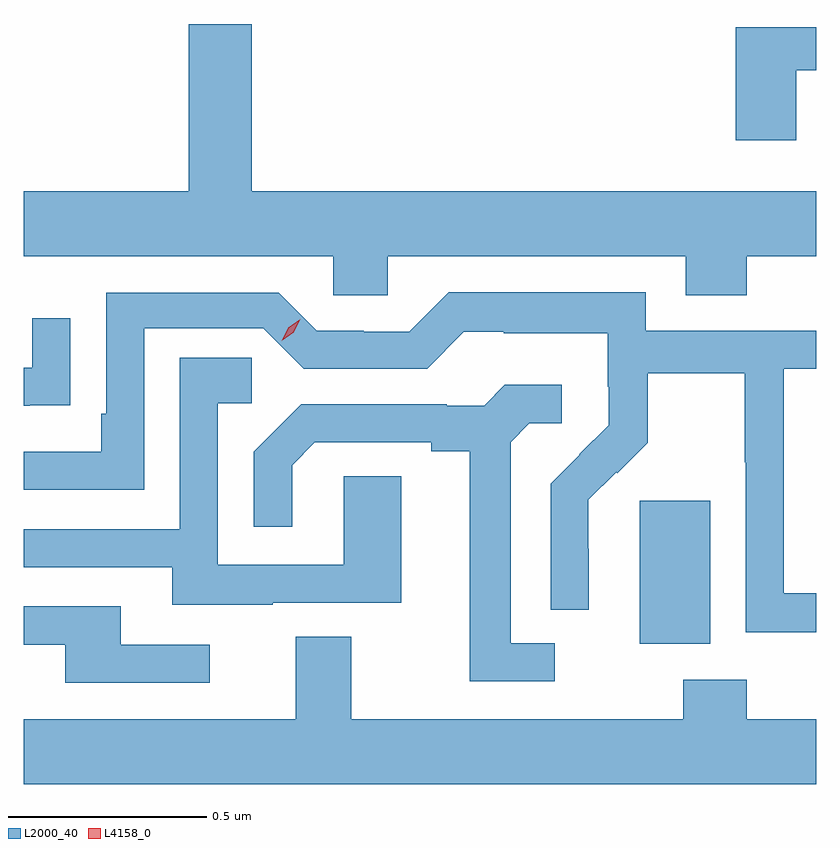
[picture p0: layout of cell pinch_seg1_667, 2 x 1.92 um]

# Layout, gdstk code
import gdstk
lib = gdstk.Library(unit=1e-6, precision=1e-09)
def R(c, l, rs):  # rectangles x0, y0, x1, y1
    for r in rs: c.add(gdstk.rectangle(r[:2], r[2:], *l))
def P(c, l, *ps):  # polygons
    for p in ps: c.add(gdstk.Polygon(p, *l))
L2000_40 = (2000, 40)
L4158_0 = (4158, 0)

pinch_seg1_667 = lib.new_cell('pinch_seg1_667')
R(pinch_seg1_667, L2000_40, [(770.738,580.058,770.917,580.419)])
P(pinch_seg1_667, L2000_40, [(771.008,581.036),(771.184,581.036),(771.184,581.2),(769.76,581.2),(769.76,581.622),(769.6,581.622),(769.6,581.2),(769.184,581.2),(769.184,581.036),(769.965,581.036),(769.965,580.938),(770.103,580.938),(770.103,581.036),(770.855,581.036),(770.855,580.937),(771.008,580.937)],
  [(771.133,581.505),(771.184,581.505),(771.184,581.614),(770.981,581.614),(770.981,581.328),(771.133,581.328)],
  [(771.184,580.185),(771.102,580.185),(771.102,580.752),(771.184,580.752),(771.184,580.848),(770.754,580.848),(770.754,580.945),(770.257,580.945),(770.157,580.845),(770.042,580.845),(770.042,580.848),(769.923,580.848),(769.827,580.944),(769.392,580.944),(769.392,580.639),(769.379,580.639),(769.379,580.542),(769.184,580.542),(769.184,580.446),(769.488,580.446),(769.488,580.854),(769.789,580.854),(769.891,580.752),(770.202,580.752),(770.295,580.845),(770.395,580.845),(770.395,580.841),(770.658,580.841),(770.658,580.707),(770.66,580.707),(770.66,580.61),(770.586,580.536),(770.587,580.535),(770.514,580.462),(770.514,580.144),(770.61,580.144),(770.61,580.298),(770.609,580.298),(770.609,580.421),(770.679,580.491),(770.682,580.488),(770.759,580.565),(770.759,580.74),(771.004,580.74),(771.004,580.516),(771.006,580.516),(771.006,580.087),(771.184,580.087)],
  [(769.199,580.66),(769.301,580.66),(769.301,580.879),(769.205,580.879),(769.205,580.755),(769.184,580.755),(769.184,580.659),(769.199,580.659)],
  [(769.813,580.161),(770.137,580.161),(770.137,580.481),(769.992,580.481),(769.992,580.257),(769.674,580.257),(769.674,580.665),(769.759,580.665),(769.759,580.78),(769.578,580.78),(769.578,580.347),(769.184,580.347),(769.184,580.251),(769.559,580.251),(769.559,580.157),(769.813,580.157)],
  [(770.524,580.059),(770.413,580.059),(770.413,580.567),(770.46,580.614),(770.542,580.614),(770.542,580.711),(770.398,580.711),(770.346,580.659),(770.252,580.659),(770.252,580.662),(769.884,580.662),(769.764,580.542),(769.764,580.353),(769.861,580.353),(769.861,580.509),(769.918,580.566),(770.213,580.566),(770.213,580.544),(770.309,580.544),(770.309,579.963),(770.524,579.963)],
  [(769.654,580.056),(769.429,580.056),(769.429,580.152),(769.184,580.152),(769.184,580.056),(769.289,580.056),(769.289,579.96),(769.654,579.96)],
  [(771.184,579.868),(771.008,579.868),(771.008,579.967),(770.848,579.967),(770.848,579.868),(770.011,579.868),(770.011,580.076),(769.871,580.076),(769.871,579.868),(769.184,579.868),(769.184,579.704),(771.184,579.704)])
P(pinch_seg1_667, L4158_0, [(769.835,580.823),(769.835,580.823),(769.851,580.856),(769.882,580.877),(769.882,580.877),(769.882,580.877),(769.866,580.844),(769.835,580.823)])

lib.write_gds('pinch_seg1_667.gds')
